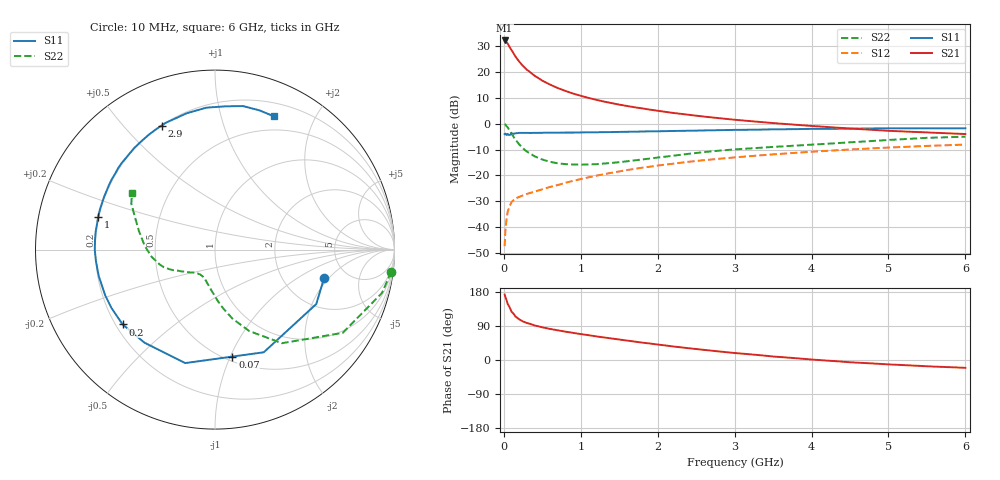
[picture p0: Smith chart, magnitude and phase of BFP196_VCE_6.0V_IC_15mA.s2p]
! Infineon Technologies  Discrete & RF Semiconductors
! BFP196
! VCE =  6.0 V,  IC =  15 mA
! Common Emitter S-Parameters:  Jan 2017
# GHz  S  MA  R  50
!  f  S11  S21  S12  S22
! GHz  MAG  ANG  MAG  ANG  MAG  ANG  MAG  ANG
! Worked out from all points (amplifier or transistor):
!   77 points, 10 MHz to 6 GHz, reference 50 ohm
!   highest |S21| = 32.1 dB at 10 MHz (marker M1)
!   |S21| within 3 dB of that: start of sweep to 84.41 MHz
!   unconditionally stable (mu >= 1): 865.1 MHz to 2.383 GHz
!   at 130 MHz: K = 0.31, MSG = 28.2 dB, |S12| = -29.4 dB
!   at 2.2 GHz: K = 1.02, MAG = 9.0 dB, |S12| = -15.5 dB
!   at 6 GHz: K = 0.92, MSG = 2.0 dB, |S12| = -8.1 dB
!   S11 on the Smith chart (normalised r, x): 10 MHz: 3.40, -1.77; 70 MHz: 0.54, -1.02; 200 MHz: 0.23, -0.34; 1 GHz: 0.20, +0.13; 2.9 GHz: 0.20, +0.64; 6 GHz: 0.34, +1.48
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0.01  0.6284 -14.5  40.44 172.9  0.0043 83.4  0.9892 -7.2
0.02  0.6406 -28.3  40.29 166.1  0.0085 80.5  0.9616 -14.5
0.05  0.6333 -64.6  35.04 147.8  0.0199 65.8  0.8496 -33.1
0.07  0.6039 -80.8  31.11 141.0  0.0239 57.7  0.7542 -40.2
0.1  0.6536 -104.7  26.34 127.3  0.0306 49.8  0.6408 -54.5
0.15  0.6506 -127.2  19.89 115.2  0.0358 43.8  0.491 -67.3
0.2  0.6625 -141.0  15.78 107.3  0.0385 41.4  0.3967 -75.8
0.25  0.6623 -150.7  12.96 101.5  0.0413 41.6  0.3331 -81.8
0.3  0.6628 -157.5  10.97 97.6  0.0439 42.0  0.2883 -86.7
0.4  0.6644 -167.2  8.398 91.1  0.0485 44.3  0.2337 -94.1
0.5  0.6664 -174.4  6.764 86.2  0.054 47.0  0.2027 -100.2
0.6  0.6699 -179.9  5.68 82.0  0.0599 48.7  0.1833 -105.4
0.7  0.6705 175.7  4.878 78.4  0.0651 51.2  0.1712 -109.6
1  0.6764 164.2  3.451 68.4  0.0849 54.0  0.1612 -121.0
1.1  0.6791 160.7  3.145 65.5  0.0917 54.8  0.163 -123.6
1.5  0.692 148.5  2.331 54.1  0.1194 54.4  0.1803 -135.2
2.1  0.7162 131.6  1.691 38.4  0.1618 50.6  0.2304 -148.8
2.9  0.7524 113.3  1.231 20.5  0.2163 42.9  0.3093 -162.9
3.1  0.7597 109.3  1.154 16.8  0.2292 40.8  0.3249 -166.6
4.1  0.7928 91.9  0.883 -0.1  0.2923 29.9  0.4007 174.4
5.1  0.8137 77.6  0.717 -12.5  0.3502 18.3  0.4928 156.2
6  0.8117 66.1  0.63 -20.7  0.3947 7.9  0.56 145.7
